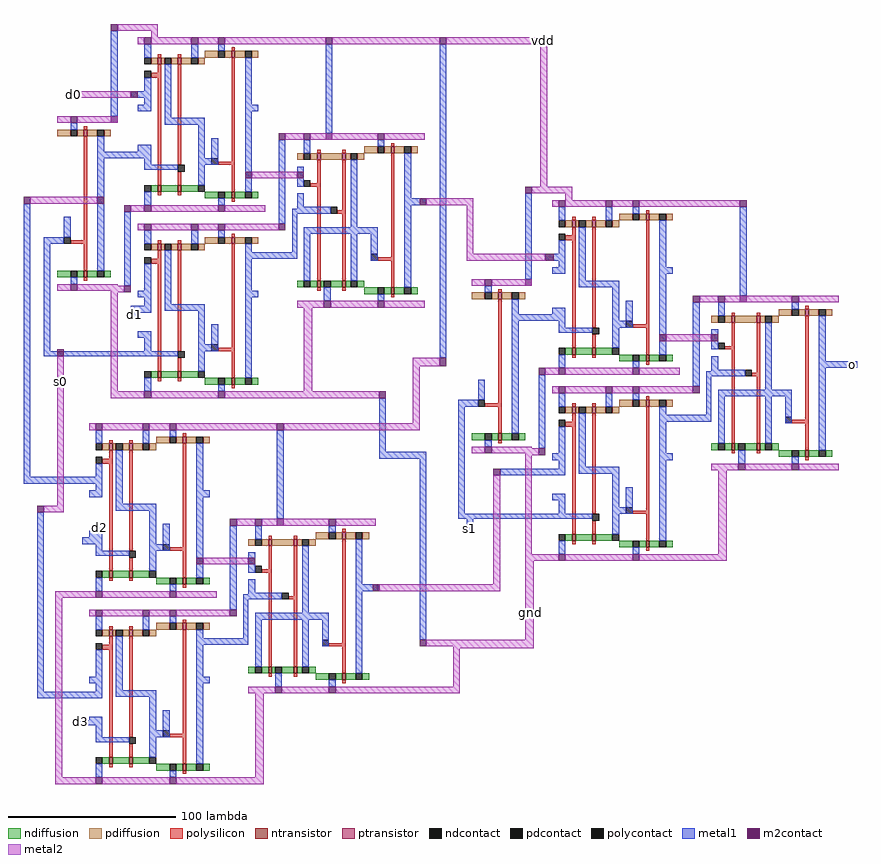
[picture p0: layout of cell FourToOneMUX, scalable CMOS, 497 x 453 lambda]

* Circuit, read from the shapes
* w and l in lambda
.subckt FourToOneMUX d0 d1 d2 d3 gnd o s0 s1 vdd
M1 WONOTTwoToOneMUX_0/and_0/a s0 gnd VSUBS nfet w=4 l=2
M2 n1 s0 gnd VSUBS nfet w=4 l=2
M3 n2 WONOTTwoToOneMUX_0/and_0/a gnd VSUBS nfet w=4 l=2
M4 WONOTTwoToOneMUX_0/and_1/not_0/i d3 n1 VSUBS nfet w=4 l=2
M5 WONOTTwoToOneMUX_0/and_0/not_0/i d2 n2 VSUBS nfet w=4 l=2
M6 n3 d1 gnd VSUBS nfet w=4 l=2
M7 n4 d0 gnd VSUBS nfet w=4 l=2
M8 TwoToOneMUX_0/and_1/not_0/i s0 n3 VSUBS nfet w=4 l=2
M9 TwoToOneMUX_0/and_0/not_0/i WONOTTwoToOneMUX_0/and_0/a n4 VSUBS nfet w=4 l=2
M10 WONOTTwoToOneMUX_0/and_1/o WONOTTwoToOneMUX_0/and_1/not_0/i gnd VSUBS nfet w=4 l=2
M11 WONOTTwoToOneMUX_0/and_0/o WONOTTwoToOneMUX_0/and_0/not_0/i gnd VSUBS nfet w=4 l=2
M12 TwoToOneMUX_0/and_1/o TwoToOneMUX_0/and_1/not_0/i gnd VSUBS nfet w=4 l=2
M13 TwoToOneMUX_0/and_0/o TwoToOneMUX_0/and_0/not_0/i gnd VSUBS nfet w=4 l=2
M14 gnd WONOTTwoToOneMUX_0/and_0/o WONOTTwoToOneMUX_0/or_0/not_0/i VSUBS nfet w=4 l=2
M15 WONOTTwoToOneMUX_0/or_0/not_0/i WONOTTwoToOneMUX_0/and_1/o gnd VSUBS nfet w=4 l=2
M16 gnd TwoToOneMUX_0/and_0/o TwoToOneMUX_0/or_0/not_0/i VSUBS nfet w=4 l=2
M17 TwoToOneMUX_1/d1 WONOTTwoToOneMUX_0/or_0/not_0/i gnd VSUBS nfet w=4 l=2
M18 TwoToOneMUX_0/or_0/not_0/i TwoToOneMUX_0/and_1/o gnd VSUBS nfet w=4 l=2
M19 TwoToOneMUX_1/d0 TwoToOneMUX_0/or_0/not_0/i gnd VSUBS nfet w=4 l=2
M20 TwoToOneMUX_1/and_0/b s1 gnd VSUBS nfet w=4 l=2
M21 n5 TwoToOneMUX_1/d1 gnd VSUBS nfet w=4 l=2
M22 n6 TwoToOneMUX_1/d0 gnd VSUBS nfet w=4 l=2
M23 TwoToOneMUX_1/and_1/not_0/i s1 n5 VSUBS nfet w=4 l=2
M24 TwoToOneMUX_1/and_0/not_0/i TwoToOneMUX_1/and_0/b n6 VSUBS nfet w=4 l=2
M25 TwoToOneMUX_1/and_1/o TwoToOneMUX_1/and_1/not_0/i gnd VSUBS nfet w=4 l=2
M26 TwoToOneMUX_1/and_0/o TwoToOneMUX_1/and_0/not_0/i gnd VSUBS nfet w=4 l=2
M27 gnd TwoToOneMUX_1/and_0/o TwoToOneMUX_1/or_0/not_0/i VSUBS nfet w=4 l=2
M28 TwoToOneMUX_1/or_0/not_0/i TwoToOneMUX_1/and_1/o gnd VSUBS nfet w=4 l=2
M29 o TwoToOneMUX_1/or_0/not_0/i gnd VSUBS nfet w=4 l=2
M30 WONOTTwoToOneMUX_0/and_0/a s0 vdd NWELL pfet w=4 l=2
M31 WONOTTwoToOneMUX_0/and_1/not_0/i s0 vdd NWELL pfet w=4 l=2
M32 WONOTTwoToOneMUX_0/and_0/not_0/i WONOTTwoToOneMUX_0/and_0/a vdd NWELL pfet w=4 l=2
M33 vdd d3 WONOTTwoToOneMUX_0/and_1/not_0/i NWELL pfet w=4 l=2
M34 vdd d2 WONOTTwoToOneMUX_0/and_0/not_0/i NWELL pfet w=4 l=2
M35 TwoToOneMUX_0/and_1/not_0/i d1 vdd NWELL pfet w=4 l=2
M36 TwoToOneMUX_0/and_0/not_0/i d0 vdd NWELL pfet w=4 l=2
M37 vdd s0 TwoToOneMUX_0/and_1/not_0/i NWELL pfet w=4 l=2
M38 vdd WONOTTwoToOneMUX_0/and_0/a TwoToOneMUX_0/and_0/not_0/i NWELL pfet w=4 l=2
M39 WONOTTwoToOneMUX_0/and_1/o WONOTTwoToOneMUX_0/and_1/not_0/i vdd NWELL pfet w=4 l=2
M40 WONOTTwoToOneMUX_0/and_0/o WONOTTwoToOneMUX_0/and_0/not_0/i vdd NWELL pfet w=4 l=2
M41 TwoToOneMUX_0/and_1/o TwoToOneMUX_0/and_1/not_0/i vdd NWELL pfet w=4 l=2
M42 TwoToOneMUX_0/and_0/o TwoToOneMUX_0/and_0/not_0/i vdd NWELL pfet w=4 l=2
M43 n7 WONOTTwoToOneMUX_0/and_0/o vdd NWELL pfet w=4 l=2
M44 WONOTTwoToOneMUX_0/or_0/not_0/i WONOTTwoToOneMUX_0/and_1/o n7 NWELL pfet w=4 l=2
M45 n8 TwoToOneMUX_0/and_0/o vdd NWELL pfet w=4 l=2
M46 TwoToOneMUX_1/d1 WONOTTwoToOneMUX_0/or_0/not_0/i vdd NWELL pfet w=4 l=2
M47 TwoToOneMUX_0/or_0/not_0/i TwoToOneMUX_0/and_1/o n8 NWELL pfet w=4 l=2
M48 TwoToOneMUX_1/d0 TwoToOneMUX_0/or_0/not_0/i vdd NWELL pfet w=4 l=2
M49 TwoToOneMUX_1/and_0/b s1 vdd NWELL pfet w=4 l=2
M50 TwoToOneMUX_1/and_1/not_0/i TwoToOneMUX_1/d1 vdd NWELL pfet w=4 l=2
M51 TwoToOneMUX_1/and_0/not_0/i TwoToOneMUX_1/d0 vdd NWELL pfet w=4 l=2
M52 vdd s1 TwoToOneMUX_1/and_1/not_0/i NWELL pfet w=4 l=2
M53 vdd TwoToOneMUX_1/and_0/b TwoToOneMUX_1/and_0/not_0/i NWELL pfet w=4 l=2
M54 TwoToOneMUX_1/and_1/o TwoToOneMUX_1/and_1/not_0/i vdd NWELL pfet w=4 l=2
M55 TwoToOneMUX_1/and_0/o TwoToOneMUX_1/and_0/not_0/i vdd NWELL pfet w=4 l=2
M56 n9 TwoToOneMUX_1/and_0/o vdd NWELL pfet w=4 l=2
M57 TwoToOneMUX_1/or_0/not_0/i TwoToOneMUX_1/and_1/o n9 NWELL pfet w=4 l=2
M58 o TwoToOneMUX_1/or_0/not_0/i vdd NWELL pfet w=4 l=2
.ends

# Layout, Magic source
magic
tech scmos
<< metal1 >>
rect -12 -47 -8 116
rect 52 48 56 51
rect 236 24 240 211
rect 475 18 485 22
rect 200 -32 204 0
rect 200 -36 228 -32
rect -12 -51 23 -47
rect -4 -175 0 -68
rect 31 -81 35 -74
rect 224 -144 228 -36
rect 272 -46 299 -42
rect 252 -80 256 -72
rect -4 -179 23 -175
rect 20 -195 23 -192
<< metal2 >>
rect 172 211 236 215
rect 240 211 300 215
rect 16 179 52 183
rect 296 126 300 211
rect -8 116 32 120
rect 228 115 256 119
rect 252 86 256 115
rect 252 82 299 86
rect 8 -64 12 25
rect 220 19 236 24
rect 160 0 200 4
rect 220 -15 224 19
rect 143 -19 224 -15
rect 0 -68 12 -64
rect 268 -111 272 -46
rect 200 -115 272 -111
rect 287 -144 292 -97
rect 228 -148 292 -144
rect 244 -149 292 -148
rect 244 -172 248 -149
rect 198 -176 248 -172
<< m2contact >>
rect 236 211 240 215
rect 52 179 56 183
rect -12 116 -8 120
rect 32 116 36 120
rect 224 115 228 119
rect 8 25 12 29
rect 299 82 304 86
rect 236 19 240 24
rect 200 0 204 4
rect -4 -68 0 -64
rect 196 -115 200 -111
rect 268 -46 272 -42
rect 224 -148 228 -144
use TwoToOneMUX  TwoToOneMUX_0
transform 1 0 60 0 1 111
box -60 -111 168 112
use TwoToOneMUX  TwoToOneMUX_1
transform 1 0 307 0 1 14
box -60 -111 168 112
use WONOTTwoToOneMUX  WONOTTwoToOneMUX_0
transform 1 0 31 0 1 -119
box -24 -111 168 104
<< labels >>
rlabel metal2 18 181 18 181 1 d0
rlabel metal2 10 10 10 10 1 s0
rlabel metal1 54 50 54 50 1 d1
rlabel metal1 22 -193 22 -193 1 d3
rlabel metal2 290 -128 290 -128 1 gnd
rlabel metal2 298 213 298 213 1 vdd
rlabel metal1 254 -78 254 -78 1 s1
rlabel metal1 482 20 482 20 7 o
rlabel metal1 33 -77 33 -77 1 d2
<< end >>

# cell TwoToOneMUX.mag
magic
tech scmos
<< metal1 >>
rect -20 57 -16 108
rect -8 68 0 72
rect 108 47 112 100
rect -24 32 0 36
rect -60 -19 -48 -15
rect -60 -83 -56 -19
rect -12 -44 -8 0
rect 80 -7 84 43
rect 159 4 168 8
rect 88 -24 91 2
rect 64 -28 91 -24
rect 0 -56 4 -51
rect -8 -60 4 -56
rect -60 -86 0 -83
<< metal2 >>
rect -16 108 8 112
rect 4 104 8 108
rect 72 100 108 104
rect 84 43 95 47
rect 64 20 91 24
rect -8 0 0 4
rect 72 -11 80 -7
rect -16 -47 -12 -44
rect -20 -48 -12 -47
rect -20 -107 -16 -48
rect 95 -107 100 -57
rect -20 -111 0 -107
rect 72 -111 100 -107
<< m2contact >>
rect -20 108 -16 112
rect 108 100 112 104
rect -20 53 -16 57
rect 80 43 84 47
rect 108 43 112 47
rect 60 20 64 24
rect -12 0 -8 4
rect 91 20 95 24
rect 80 -11 84 -7
rect -12 -48 -8 -44
use and  and_0
transform 1 0 0 0 1 0
box 0 0 72 104
use and  and_1
transform 1 0 0 0 1 -111
box 0 0 72 104
use not  not_0
transform 1 0 -56 0 1 -47
box 8 0 40 104
use or  or_0
transform 1 0 91 0 1 -57
box 0 0 76 104
<< labels >>
rlabel metal1 -5 70 -5 70 1 d0
rlabel metal1 -6 -58 -6 -58 1 d1
rlabel metal1 -58 -68 -58 -68 3 s
rlabel metal1 166 7 166 7 7 out
rlabel metal2 101 102 101 102 1 vdd
rlabel metal2 96 -108 96 -108 1 gnd
<< end >>

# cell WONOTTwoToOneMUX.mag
magic
tech scmos
<< metal1 >>
rect -8 68 0 72
rect 108 47 112 100
rect -8 32 0 36
rect 80 -7 84 43
rect 159 4 168 8
rect 88 -24 91 2
rect 64 -28 91 -24
rect 0 -56 4 -51
rect -8 -60 4 -56
rect -8 -76 0 -73
<< metal2 >>
rect 72 100 108 104
rect 84 43 95 47
rect 64 20 91 24
rect -24 0 0 4
rect -24 -107 -20 0
rect 72 -11 80 -7
rect 95 -107 100 -57
rect -24 -111 0 -107
rect 72 -111 100 -107
<< m2contact >>
rect 108 100 112 104
rect 80 43 84 47
rect 108 43 112 47
rect 60 20 64 24
rect 91 20 95 24
rect 80 -11 84 -7
use and  and_0
transform 1 0 0 0 1 0
box 0 0 72 104
use and  and_1
transform 1 0 0 0 1 -111
box 0 0 72 104
use or  or_0
transform 1 0 91 0 1 -57
box 0 0 76 104
<< end >>

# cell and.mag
magic
tech scmos
<< metal1 >>
rect -4 60 0 64
rect 64 60 68 64
rect -4 36 0 40
rect 36 28 44 32
<< metal2 >>
rect -4 100 0 104
rect -4 0 0 4
use nand  nand_0
transform 1 0 -4 0 1 0
box 4 0 44 104
use not  not_0
transform 1 0 32 0 1 0
box 8 0 40 104
<< labels >>
rlabel metal2 -2 102 -2 102 4 vdd
rlabel metal1 -2 62 -2 62 3 a
rlabel metal2 -2 2 -2 2 2 gnd
rlabel metal1 66 62 66 62 1 o
rlabel metal1 -2 38 -2 38 3 b
<< end >>

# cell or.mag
magic
tech scmos
<< metal1 >>
rect 40 44 48 48
rect 44 28 48 44
use nor  nor_0
transform 1 0 0 0 1 0
box 0 0 44 104
use not  not_0
transform 1 0 36 0 1 0
box 8 0 40 104
<< end >>

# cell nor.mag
magic
tech scmos
<< polysilicon >>
rect 12 92 14 94
rect 27 92 29 94
rect 12 74 14 88
rect 8 72 14 74
rect 12 16 14 72
rect 27 58 29 88
rect 24 56 29 58
rect 27 16 29 56
rect 12 10 14 12
rect 27 10 29 12
<< ndiffusion >>
rect 0 12 4 16
rect 8 12 12 16
rect 14 12 16 16
rect 20 12 27 16
rect 29 12 32 16
rect 36 12 40 16
<< pdiffusion >>
rect 0 88 4 92
rect 8 88 12 92
rect 14 88 27 92
rect 29 88 32 92
rect 36 88 40 92
<< metal1 >>
rect 4 92 8 100
rect 0 72 4 84
rect 0 60 4 68
rect 0 56 20 60
rect 32 48 36 88
rect 4 44 44 48
rect 4 16 8 44
rect 32 16 36 44
rect 16 4 20 12
<< metal2 >>
rect 0 100 4 104
rect 8 100 44 104
rect 0 0 16 4
rect 20 0 44 4
<< ntransistor >>
rect 12 12 14 16
rect 27 12 29 16
<< ptransistor >>
rect 12 88 14 92
rect 27 88 29 92
<< polycontact >>
rect 4 72 8 76
rect 20 56 24 60
<< ndcontact >>
rect 4 12 8 16
rect 16 12 20 16
rect 32 12 36 16
<< pdcontact >>
rect 4 88 8 92
rect 32 88 36 92
<< m2contact >>
rect 4 100 8 104
rect 16 0 20 4
<< labels >>
rlabel metal2 2 102 2 102 4 vdd
rlabel metal1 2 82 2 82 3 a
rlabel metal1 2 66 2 66 3 b
rlabel metal1 42 46 42 46 7 o
rlabel metal2 2 2 2 2 2 gnd
<< end >>

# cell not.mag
magic
tech scmos
<< polysilicon >>
rect 20 96 22 98
rect 20 30 22 92
rect 12 28 22 30
rect 20 12 22 28
rect 20 6 22 8
<< ndiffusion >>
rect 4 8 12 12
rect 16 8 20 12
rect 22 8 28 12
rect 32 8 36 12
<< pdiffusion >>
rect 4 92 12 96
rect 16 92 20 96
rect 22 92 28 96
rect 32 92 36 96
<< metal1 >>
rect 12 96 16 100
rect 8 32 12 44
rect 28 12 32 92
rect 12 4 16 8
<< metal2 >>
rect 4 100 12 104
rect 16 100 40 104
rect 4 0 12 4
rect 16 0 40 4
<< ntransistor >>
rect 20 8 22 12
<< ptransistor >>
rect 20 92 22 96
<< polycontact >>
rect 8 28 12 32
<< ndcontact >>
rect 12 8 16 12
rect 28 8 32 12
<< pdcontact >>
rect 12 92 16 96
rect 28 92 32 96
<< m2contact >>
rect 12 100 16 104
rect 12 0 16 4
<< labels >>
rlabel metal2 6 2 6 2 2 gnd
rlabel metal2 6 102 6 102 4 vdd
rlabel polysilicon 21 64 21 64 1 i
rlabel metal1 30 63 30 63 1 o
<< end >>

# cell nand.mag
magic
tech scmos
<< polysilicon >>
rect 12 92 14 94
rect 24 92 26 94
rect 12 83 14 88
rect 8 80 14 83
rect 12 16 14 80
rect 24 28 26 88
rect 24 16 26 24
rect 12 10 14 12
rect 24 10 26 12
<< ndiffusion >>
rect 8 12 12 16
rect 14 12 24 16
rect 26 12 36 16
<< pdiffusion >>
rect 8 88 12 92
rect 14 88 16 92
rect 20 88 24 92
rect 26 88 32 92
rect 36 88 40 92
<< metal1 >>
rect 4 92 8 100
rect 32 92 36 100
rect 4 60 8 80
rect 16 56 20 88
rect 16 52 40 56
rect 4 28 8 40
rect 4 25 24 28
rect 36 16 40 52
rect 4 4 8 12
<< metal2 >>
rect 8 100 32 104
rect 36 100 44 104
rect 8 0 44 4
<< ntransistor >>
rect 12 12 14 16
rect 24 12 26 16
<< ptransistor >>
rect 12 88 14 92
rect 24 88 26 92
<< polycontact >>
rect 4 80 8 84
rect 24 24 28 28
<< ndcontact >>
rect 4 12 8 16
rect 36 12 40 16
<< pdcontact >>
rect 4 88 8 92
rect 16 88 20 92
rect 32 88 36 92
<< m2contact >>
rect 4 100 8 104
rect 32 100 36 104
rect 4 0 8 4
<< end >>
